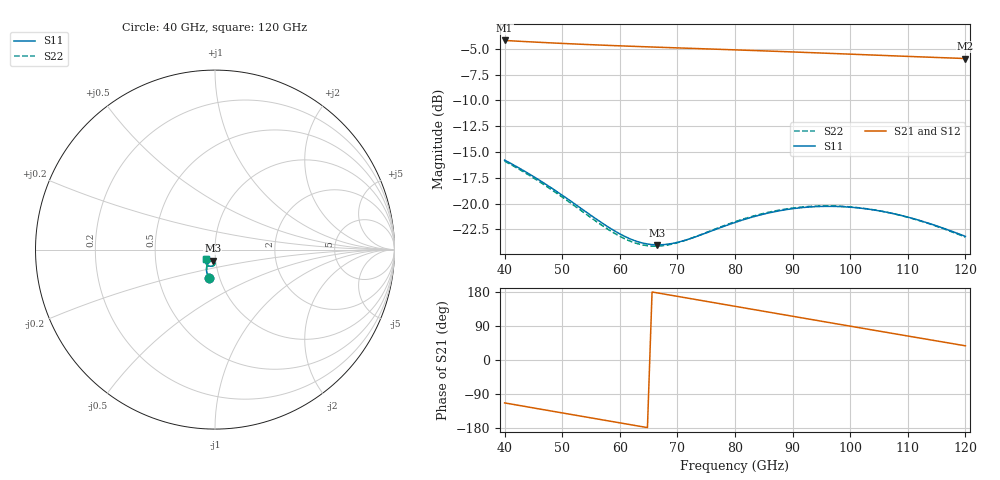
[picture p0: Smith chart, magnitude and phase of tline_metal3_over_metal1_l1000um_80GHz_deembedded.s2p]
! Created with skrf 2.2.0 (http://scikit-rf.org).
# GHz S DB R 50.0
! Port[1] = P1
! Port[2] = P2
!freq dBS11 angS11 dBS21 angS21 dBS12 angS12 dBS22 angS22
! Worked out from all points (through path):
!   101 points, 40 GHz to 120 GHz, reference 50 ohm
!   highest |S21| = -4.19 dB at 40 GHz (marker M1); lowest = -5.9 dB at 120 GHz (marker M2)
!   group delay of S21, straight-line fit = 7.27 ps
!   lowest |S11| = -24.0 dB at 66.4 GHz (marker M3), VSWR 1.13, Z = 48.4 - j6.01 ohm
!   |S11| at or under -10 dB: start of sweep to end of sweep
!   |S22| runs from -24.1 to -15.9 dB; largest |S21 - S12| = 6.6e-14
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40  -15.78 -101.4  -4.19 -113.2  -4.19 -113.2  -15.88 -101.2
43.2  -16.77 -106.9  -4.28 -121.7  -4.28 -121.7  -16.89 -106.7
47.2  -18.14 -112.5  -4.40 -132.3  -4.40 -132.3  -18.30 -112.2
53.6  -20.59 -117.0  -4.56 -149.1  -4.56 -149.1  -20.80 -116.2
57.6  -22.13 -115.7  -4.66 -159.6  -4.66 -159.6  -22.36 -114.5
60.8  -23.16 -111.9  -4.72 -167.9  -4.72 -167.9  -23.39 -110.3
64  -23.82 -106.3  -4.79 -176.3  -4.79 -176.3  -24.01 -104.1
66.4  -23.99 -101.6  -4.84 177.4  -4.84 177.4  -24.12 -99.2
67.2  -23.99 -100.0  -4.85 175.3  -4.85 175.3  -24.09 -97.7
70.4  -23.70 -94.9  -4.91 166.9  -4.91 166.9  -23.73 -92.6
73.6  -23.13 -91.9  -4.98 158.5  -4.98 158.5  -23.10 -89.8
80  -21.82 -92.0  -5.10 141.7  -5.10 141.7  -21.76 -90.4
84  -21.15 -95.0  -5.18 131.2  -5.18 131.2  -21.08 -93.8
87.2  -20.75 -98.5  -5.24 122.8  -5.24 122.8  -20.68 -97.3
90.4  -20.46 -102.4  -5.31 114.4  -5.31 114.4  -20.40 -101.5
93.6  -20.30 -106.7  -5.38 106.0  -5.38 106.0  -20.25 -105.9
96.8  -20.26 -111.2  -5.44 97.6  -5.44 97.6  -20.22 -110.4
100  -20.34 -115.6  -5.51 89.3  -5.51 89.3  -20.32 -115.0
103.2  -20.54 -119.9  -5.58 81.0  -5.58 81.0  -20.52 -119.3
107.2  -20.93 -124.8  -5.67 70.6  -5.67 70.6  -20.94 -124.4
113.6  -21.90 -131.1  -5.81 54.0  -5.81 54.0  -21.93 -130.8
120  -23.17 -134.0  -5.94 37.5  -5.94 37.5  -23.24 -133.7
